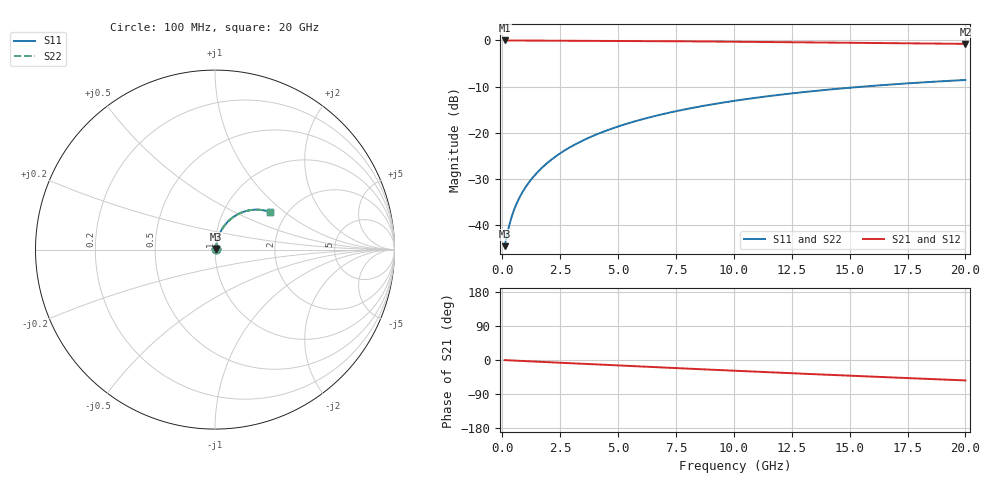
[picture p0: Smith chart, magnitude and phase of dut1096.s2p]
! Touchstone file exported from HFSS 2026.1.0
!  File:  C:/ffzhzh/LocalFiles/Ansys_Project_Files/temp_train_TMRDL_1096_1783161159_22436.aedt
!  Generated:  06:34:05 PM Jul  4, 2026
!  Design:  TMRDL
!  Project:  temp_train_TMRDL_1096_1783161159_22436
! Variables:
!  h_bsmrdl = 2um
!  h_ox = 20um
!  h_rdl = 5um
!  h_sub = 80um
!  h_tmrdl = 2.4um
!  h_tsv = 80um
!  h_via = 3um
!  l_bsmrdl = 300um
!  l_sub = 1261.93um
!  l_tmrdl = 861.93um
!  m_sub = 200um
!  pitch = 43.47um
!  r_tsv = 6um
!  s_tmrdl = 10um
!  w_bsmrdl = 18um
!  w_sub = 500um
!  w_tmrdl = 25.63um
!  x_tsv_center1 = 874.745um
!  x_tsv_center2 = 1192.745um
!  x_tsv_center3 = 2080.305um
!  x_tsv_center4 = 2398.305um
!  x_tsv_center5 = 3285.865um
!  x_tsv_center6 = 3603.865um
# GHz S MA R 50.000000
! Terminal data exported
! Port[1] = TM_RDL1_1_T1
! Port[2] = TM_RDL1_1_T2
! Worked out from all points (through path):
!   200 points, 100 MHz to 20 GHz, reference 50 ohm
!   highest |S21| = -0.05 dB at 100 MHz (marker M1); lowest = -0.8 dB at 20 GHz (marker M2)
!   group delay of S21, straight-line fit = 7.49 ps
!   lowest |S11| = -44.5 dB at 100 MHz (marker M3), VSWR 1.01, Z = 50.5 + j0.283 ohm
!   |S11| at or under -10 dB: start of sweep to 15.63 GHz
!   |S22| runs from -44.5 to -8.6 dB; largest |S21 - S12| = 1.1e-14
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0.1  0.005955 28.1  0.9948 -0.3  0.9948 -0.3  0.005955 28.1
! Gamma 0 0 0 0
! Port Impedance 50 0 50 0
0.3  0.01001 53.9  0.9942 -0.9  0.9942 -0.9  0.01001 53.9
0.4  0.01228 59.2  0.9939 -1.2  0.9939 -1.2  0.01228 59.2
0.5  0.01454 62.7  0.9936 -1.5  0.9936 -1.5  0.01454 62.7
0.6  0.01678 65.2  0.9933 -1.8  0.9933 -1.8  0.01678 65.2
0.8  0.02124 68.7  0.9929 -2.4  0.9929 -2.4  0.02124 68.7
1  0.02571 71.0  0.9926 -2.9  0.9926 -2.9  0.02571 71.0
1.2  0.03022 72.6  0.9923 -3.5  0.9923 -3.5  0.03022 72.6
1.4  0.03476 73.7  0.9921 -4.1  0.9921 -4.1  0.03476 73.7
1.7  0.04162 74.7  0.9917 -4.9  0.9917 -4.9  0.04162 74.7
2.2  0.05312 75.3  0.991 -6.4  0.991 -6.4  0.05312 75.3
2.8  0.06694 75.2  0.9899 -8.1  0.9899 -8.1  0.06694 75.2
3.5  0.08302 74.3  0.9885 -10.1  0.9885 -10.1  0.08302 74.3
4.2  0.09896 73.1  0.9868 -12.1  0.9868 -12.1  0.09896 73.1
5  0.1169 71.4  0.9845 -14.4  0.9845 -14.4  0.1169 71.4
5.9  0.1368 69.3  0.9816 -16.9  0.9816 -16.9  0.1368 69.3
6.8  0.1563 67.1  0.9783 -19.4  0.9783 -19.4  0.1563 67.1
8.3  0.1875 63.3  0.9722 -23.6  0.9722 -23.6  0.1875 63.3
10.1  0.223 58.7  0.9639 -28.5  0.9639 -28.5  0.223 58.7
13.4  0.2816 50.3  0.9472 -37.3  0.9472 -37.3  0.2816 50.3
16.7  0.3314 42.1  0.9301 -45.7  0.9301 -45.7  0.3314 42.0
20  0.3721 34.1  0.914 -53.9  0.914 -53.9  0.3721 34.1
